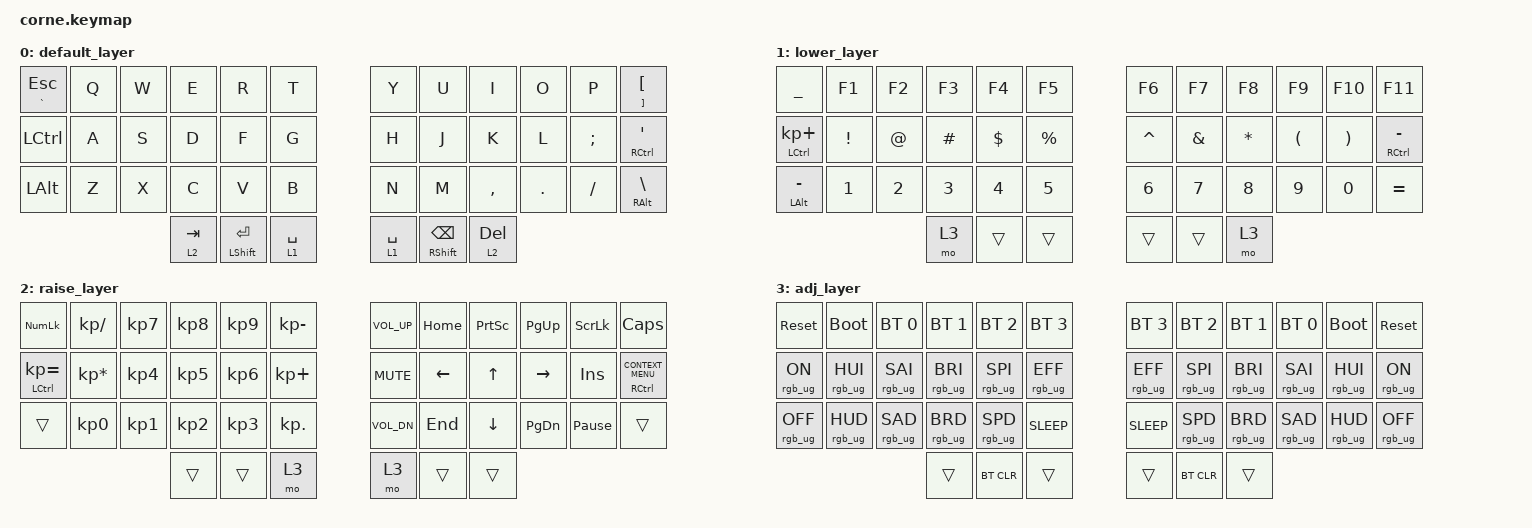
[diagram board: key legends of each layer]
/*
 * Copyright (c) 2020 The ZMK Contributors
 *
 * SPDX-License-Identifier: MIT
 */

#include <behaviors.dtsi>
#include <dt-bindings/zmk/bt.h>
#include <dt-bindings/zmk/keys.h>
#include <dt-bindings/zmk/rgb.h>

&led_strip { chain-length = <27>; };

/ {
    keymap {
        compatible = "zmk,keymap";

        default_layer {
            // -----------------------------------------------------------------------------------------
            // |  TAB |  Q  |  W  |  E  |  R  |  T  |   |  Y  |  U   |  I  |  O  |  P  | BKSP |
            // | CTRL |  A  |  S  |  D  |  F  |  G  |   |  H  |  J   |  K  |  L  |  ;  |  '   |
            // | SHFT |  Z  |  X  |  C  |  V  |  B  |   |  N  |  M   |  ,  |  .  |  /  | ESC  |
            //                    | GUI | LWR | SPC |   | ENT | RSE  | ALT |

            bindings = <
&mt GRAVE ESCAPE  &kp Q  &kp W  &kp E      &kp R            &kp T          &kp Y        &kp U                &kp I         &kp O    &kp P     &mt RIGHT_BRACKET LEFT_BRACKET
&kp LCTRL         &kp A  &kp S  &kp D      &kp F            &kp G          &kp H        &kp J                &kp K         &kp L    &kp SEMI  &mt RCTRL SQT
&kp LALT          &kp Z  &kp X  &kp C      &kp V            &kp B          &kp N        &kp M                &kp COMMA     &kp DOT  &kp FSLH  &mt RIGHT_ALT BACKSLASH
                                &lt 2 TAB  &mt LSHFT ENTER  &lt 1 SPACE    &lt 1 SPACE  &mt RSHFT BACKSPACE  &lt 2 DELETE
            >;
        };

        lower_layer {
            // -----------------------------------------------------------------------------------------
            // |  TAB |  !  |  @  |  #  |  $  |  %  |   |  ^  |  &  |  *  |  (  |  )  | BKSP |
            // | CTRL |     |     |     |     |     |   |  -  |  =  |  [  |  ]  |  \  |  `   |
            // | SHFT |     |     |     |     |     |   |  _  |  +  |  {  |  }  | "|" |  ~   |
            //                    | GUI |     | SPC |   | ENT |     | ALT |

            bindings = <
&kp UNDERSCORE     &kp F1           &kp F2       &kp F3    &kp F4      &kp F5         &kp F6     &kp F7         &kp F8        &kp F9                &kp F10                &kp F11
&mt LCTRL KP_PLUS  &kp EXCLAMATION  &kp AT_SIGN  &kp HASH  &kp DOLLAR  &kp PERCENT    &kp CARET  &kp AMPERSAND  &kp ASTERISK  &kp LEFT_PARENTHESIS  &kp RIGHT_PARENTHESIS  &mt RCTRL MINUS
&mt LALT MINUS     &kp N1           &kp N2       &kp N3    &kp N4      &kp N5         &kp N6     &kp N7         &kp N8        &kp N9                &kp N0                 &kp EQUAL
                                                 &mo 3     &trans      &trans         &trans     &trans         &mo 3
            >;
        };

        raise_layer {
            // -----------------------------------------------------------------------------------------
            // |  TAB |  1  |  2  |  3  |  4  |  5  |   |  6  |  7  |  8  |  9  |  0  | BKSP |
            // | BTCLR| BT1 | BT2 | BT3 | BT4 | BT5 |   | LFT | DWN |  UP | RGT |     |      |
            // | SHFT |     |     |     |     |     |   |     |     |     |     |     |      |
            //                    | GUI |     | SPC |   | ENT |     | ALT |

            bindings = <
&kp KP_NUMLOCK      &kp KP_DIVIDE    &kp KP_N7  &kp KP_N8  &kp KP_N9  &kp KP_MINUS    &kp C_VOLUME_UP  &kp HOME  &kp PRINTSCREEN  &kp PG_UP  &kp SCROLLLOCK   &kp CLCK
&mt LCTRL KP_EQUAL  &kp KP_MULTIPLY  &kp KP_N4  &kp KP_N5  &kp KP_N6  &kp KP_PLUS     &kp C_MUTE       &kp LEFT  &kp UP           &kp RIGHT  &kp INS          &mt RCTRL K_CONTEXT_MENU
&trans              &kp KP_N0        &kp KP_N1  &kp KP_N2  &kp KP_N3  &kp KP_DOT      &kp C_VOL_DN     &kp END   &kp DOWN         &kp PG_DN  &kp PAUSE_BREAK  &trans
                                                &trans     &trans     &mo 3           &mo 3            &trans    &trans
            >;
        };

        adj_layer {
            bindings = <
&sys_reset       &bootloader      &bt BT_SEL 0     &bt BT_SEL 1     &bt BT_SEL 2     &bt BT_SEL 3       &bt BT_SEL 3     &bt BT_SEL 2     &bt BT_SEL 1     &bt BT_SEL 0     &bootloader      &sys_reset
&rgb_ug RGB_ON   &rgb_ug RGB_HUI  &rgb_ug RGB_SAI  &rgb_ug RGB_BRI  &rgb_ug RGB_SPI  &rgb_ug RGB_EFF    &rgb_ug RGB_EFF  &rgb_ug RGB_SPI  &rgb_ug RGB_BRI  &rgb_ug RGB_SAI  &rgb_ug RGB_HUI  &rgb_ug RGB_ON
&rgb_ug RGB_OFF  &rgb_ug RGB_HUD  &rgb_ug RGB_SAD  &rgb_ug RGB_BRD  &rgb_ug RGB_SPD  &kp K_SLEEP        &kp K_SLEEP      &rgb_ug RGB_SPD  &rgb_ug RGB_BRD  &rgb_ug RGB_SAD  &rgb_ug RGB_HUD  &rgb_ug RGB_OFF
                                                   &trans           &bt BT_CLR       &trans             &trans           &bt BT_CLR       &trans
            >;
        };
    };
};
